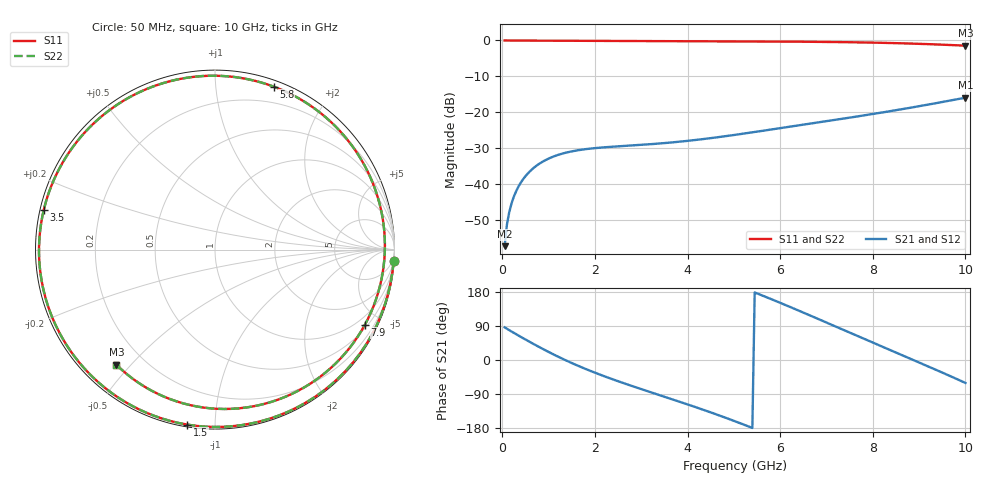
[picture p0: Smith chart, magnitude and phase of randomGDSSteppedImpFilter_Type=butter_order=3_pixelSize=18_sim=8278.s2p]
! freq	dB(S11)	phase(S11)	dB(S12)	phase(S12)
!  dB(S21)	phase(S21)	dB(S22)	phase(S22)
!S-par simulation data
#  GHz  S  DB  R 50
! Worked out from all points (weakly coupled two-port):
!   200 points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, 50 MHz to 10 GHz, reference 50 ohm
!   highest |S21| = -15.93 dB at 10 GHz (marker M1); lowest = -57.2 dB at 50 MHz (marker M2)
!   lowest |S11| = -1.5 dB at 10 GHz (marker M3), VSWR 11.85, Z = 5.11 - j22.8 ohm
!   |S11| at or under -10 dB: nowhere
!   |S22| runs from -1.5 to 0.0 dB; largest |S21 - S12| = 0
!   S11 on the Smith chart (normalised r, x): 50 MHz: 1, -31; 1.5 GHz: 0.01, -0.85; 3.5 GHz: 0.01, +0.12; 5.8 GHz: 0.05, +1.42; 7.9 GHz: 0.62, -4.12; 10 GHz: 0.10, -0.46
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0.05  -0.02 -3.7  -57.20 86.2  -57.20 86.2  -0.02 -3.7
0.1  -0.03 -7.3  -51.22 82.4  -51.22 82.4  -0.03 -7.3
0.2  -0.04 -14.5  -45.29 75.1  -45.29 75.1  -0.04 -14.5
0.45  -0.05 -32.2  -38.58 57.5  -38.58 57.5  -0.05 -32.2
0.95  -0.08 -65.8  -33.17 24.4  -33.17 24.4  -0.08 -65.8
1.5  -0.11 -99.0  -30.85 -8.0  -30.85 -8.0  -0.11 -99.0
1.75  -0.12 -112.7  -30.32 -21.2  -30.32 -21.2  -0.12 -112.7
2.55  -0.15 -152.1  -29.41 -58.1  -29.41 -58.1  -0.15 -152.1
2.95  -0.16 -169.9  -29.08 -74.8  -29.08 -74.8  -0.16 -169.8
3.4  -0.18 171.0  -28.66 -92.9  -28.66 -92.9  -0.18 171.0
3.5  -0.18 166.9  -28.55 -96.9  -28.55 -96.9  -0.18 166.9
4.2  -0.21 138.0  -27.64 -125.4  -27.64 -125.4  -0.21 138.1
5.05  -0.26 102.7  -26.22 -162.8  -26.22 -162.8  -0.26 102.7
5.8  -0.31 70.2  -24.79 161.0  -24.79 161.0  -0.31 70.2
6.7  -0.39 29.4  -23.04 114.7  -23.04 114.7  -0.39 29.4
7.3  -0.47 1.5  -21.87 82.9  -21.87 82.9  -0.47 1.5
7.9  -0.59 -26.7  -20.67 51.2  -20.67 51.2  -0.59 -26.8
8.35  -0.71 -48.1  -19.73 27.5  -19.73 27.5  -0.71 -48.1
8.8  -0.87 -69.6  -18.75 3.9  -18.75 3.9  -0.87 -69.6
9.2  -1.04 -89.1  -17.84 -17.1  -17.84 -17.1  -1.04 -89.1
9.6  -1.24 -109.3  -16.89 -38.5  -16.89 -38.5  -1.24 -109.3
10  -1.47 -130.6  -15.93 -60.5  -15.93 -60.5  -1.47 -130.6
